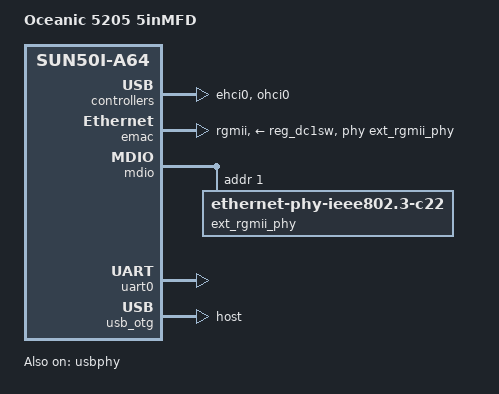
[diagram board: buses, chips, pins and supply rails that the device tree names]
// SPDX-License-Identifier: (GPL-2.0+ OR MIT)
/*
 * Copyright (C) 2019 Oceanic Systems (UK) Ltd.
 * Copyright (C) 2019 Amarula Solutions B.V.
 * Author: Jagan Teki <jagan@amarulasolutions.com>
 */

/dts-v1/;

#include "sun50i-a64-sopine.dtsi"

/ {
	model = "Oceanic 5205 5inMFD";
	compatible = "oceanic,5205-5inmfd", "allwinner,sun50i-a64";

	aliases {
		ethernet0 = &emac;
		serial0 = &uart0;
	};

	chosen {
		stdout-path = "serial0:115200n8";
	};
};

&ehci0 {
	status = "okay";
};

&emac {
	pinctrl-names = "default";
	pinctrl-0 = <&rgmii_pins>;
	phy-mode = "rgmii";
	phy-handle = <&ext_rgmii_phy>;
	phy-supply = <&reg_dc1sw>;
	allwinner,tx-delay-ps = <600>;
	status = "okay";
};

&mdio {
	ext_rgmii_phy: ethernet-phy@1 {
		compatible = "ethernet-phy-ieee802.3-c22";
		reg = <1>;
	};
};

&ohci0 {
	status = "okay";
};

&reg_dc1sw {
	regulator-name = "vcc-phy";
};

&uart0 {
	pinctrl-names = "default";
	pinctrl-0 = <&uart0_pb_pins>;
	status = "okay";
};

&usb_otg {
	dr_mode = "host";
	status = "okay";
};

&usbphy {
	status = "okay";
};
